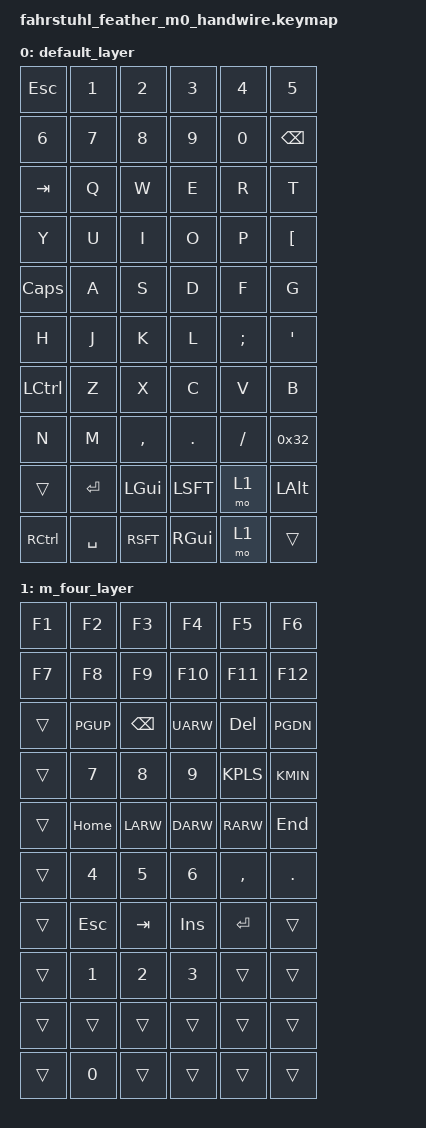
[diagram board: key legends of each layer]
#include <behaviors.dtsi>
#include <dt-bindings/zmk/keys.h>

/ {
	keymap {
		compatible = "zmk,keymap";

		default_layer {
			bindings = <
	&kp ESC  &kp NUM_1 &kp NUM_2 &kp NUM_3 &kp NUM_4 &kp NUM_5 
                                                                &kp NUM_6 &kp NUM_7 &kp NUM_8 &kp NUM_9 &kp NUM_0 &kp BKSP
	&kp TAB  &kp Q &kp W &kp E &kp R &kp T 
                                                                &kp Y &kp U &kp I &kp O &kp P &kp LBKT
	&kp CLCK  &kp A &kp S &kp D &kp F &kp G 
                                                                &kp H &kp J &kp K &kp L &kp SCLN &kp QUOT
	&kp LCTL  &kp Z &kp X &kp C &kp V &kp B 
                                                                &kp N &kp M &kp CMMA &kp DOT &kp FSLH &kp 0x32
	&trans &kp RET &kp LGUI &kp LSFT &mo 1 &kp LALT 
                                                                &kp RCTL &kp SPC &kp RSFT &kp RGUI &mo 1 &trans
/*	&trans &kp RET &kp LGUI &kp LSFT &kp 0x64 &kp LALT 
                                                                &kp RCTL &kp SPC &kp RSFT &kp RGUI &kp RALT &trans */
			>;
		};
		m_four_layer {
			bindings = <
	&kp F1  &kp F2 &kp F3 &kp F4 &kp F5 &kp F6 
                                                                &kp F7 &kp F8 &kp F9 &kp F10 &kp F11 &kp F12
	&trans  &kp PGUP &kp BKSP &kp UARW &kp DEL &kp PGDN 
                                                                &trans &kp NUM_7 &kp NUM_8 &kp NUM_9 &kp KPLS &kp KMIN
	&trans  &kp HOME &kp LARW &kp DARW &kp RARW &kp END 
                                                                &trans &kp NUM_4 &kp NUM_5 &kp NUM_6 &kp CMMA &kp DOT
	&trans  &kp ESC &kp TAB &kp INS &kp RET &trans 
                                                                &trans &kp NUM_1 &kp NUM_2 &kp NUM_3 &trans &trans
	&trans &trans &trans &trans &trans &trans 
                                                                &trans &kp NUM_0 &trans &trans &trans &trans
			>;
		};
	};
};
